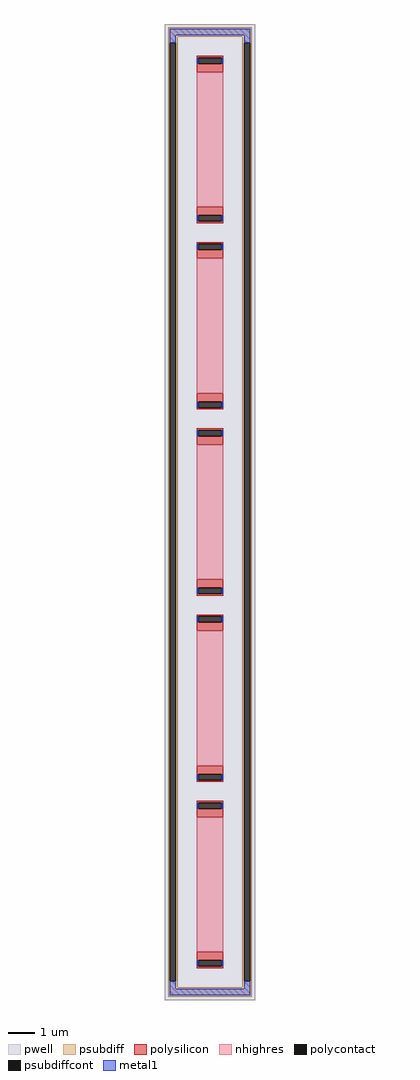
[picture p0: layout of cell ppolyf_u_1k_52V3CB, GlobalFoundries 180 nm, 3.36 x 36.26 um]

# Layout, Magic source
magic
tech gf180mcuD
magscale 1 10
<< pwell >>
rect -336 -3626 336 3626
<< psubdiff >>
rect -312 3530 312 3602
rect -312 3486 -240 3530
rect -312 -3486 -299 3486
rect -253 -3486 -240 3486
rect 240 3486 312 3530
rect -312 -3530 -240 -3486
rect 240 -3486 253 3486
rect 299 -3486 312 3486
rect 240 -3530 312 -3486
rect -312 -3602 312 -3530
<< psubdiffcont >>
rect -299 -3486 -253 3486
rect 253 -3486 299 3486
<< polysilicon >>
rect -100 3377 100 3390
rect -100 3331 -87 3377
rect 87 3331 100 3377
rect -100 3268 100 3331
rect -100 2205 100 2268
rect -100 2159 -87 2205
rect 87 2159 100 2205
rect -100 2146 100 2159
rect -100 1993 100 2006
rect -100 1947 -87 1993
rect 87 1947 100 1993
rect -100 1884 100 1947
rect -100 821 100 884
rect -100 775 -87 821
rect 87 775 100 821
rect -100 762 100 775
rect -100 609 100 622
rect -100 563 -87 609
rect 87 563 100 609
rect -100 500 100 563
rect -100 -563 100 -500
rect -100 -609 -87 -563
rect 87 -609 100 -563
rect -100 -622 100 -609
rect -100 -775 100 -762
rect -100 -821 -87 -775
rect 87 -821 100 -775
rect -100 -884 100 -821
rect -100 -1947 100 -1884
rect -100 -1993 -87 -1947
rect 87 -1993 100 -1947
rect -100 -2006 100 -1993
rect -100 -2159 100 -2146
rect -100 -2205 -87 -2159
rect 87 -2205 100 -2159
rect -100 -2268 100 -2205
rect -100 -3331 100 -3268
rect -100 -3377 -87 -3331
rect 87 -3377 100 -3331
rect -100 -3390 100 -3377
<< polycontact >>
rect -87 3331 87 3377
rect -87 2159 87 2205
rect -87 1947 87 1993
rect -87 775 87 821
rect -87 563 87 609
rect -87 -609 87 -563
rect -87 -821 87 -775
rect -87 -1993 87 -1947
rect -87 -2205 87 -2159
rect -87 -3377 87 -3331
<< nhighres >>
rect -100 2268 100 3268
rect -100 884 100 1884
rect -100 -500 100 500
rect -100 -1884 100 -884
rect -100 -3268 100 -2268
<< metal1 >>
rect -299 3543 299 3589
rect -299 3486 -253 3543
rect 253 3486 299 3543
rect -98 3331 -87 3377
rect 87 3331 98 3377
rect -98 2159 -87 2205
rect 87 2159 98 2205
rect -98 1947 -87 1993
rect 87 1947 98 1993
rect -98 775 -87 821
rect 87 775 98 821
rect -98 563 -87 609
rect 87 563 98 609
rect -98 -609 -87 -563
rect 87 -609 98 -563
rect -98 -821 -87 -775
rect 87 -821 98 -775
rect -98 -1993 -87 -1947
rect 87 -1993 98 -1947
rect -98 -2205 -87 -2159
rect 87 -2205 98 -2159
rect -98 -3377 -87 -3331
rect 87 -3377 98 -3331
rect -299 -3543 -253 -3486
rect 253 -3543 299 -3486
rect -299 -3589 299 -3543
<< properties >>
string FIXED_BBOX -276 -3566 276 3566
string gencell ppolyf_u_1k
string library gf180mcu
string parameters w 1.0 l 5.0 m 5 nx 1 wmin 1.000 lmin 1.000 class resistor rho 1000 val 5.0k dummy 0 dw 0.0 term 0.0 sterm 0.0 caplen 0.4 snake 0 glc 1 grc 1 gtc 0 gbc 0 roverlap 0 endcov 100 full_metal 1 compatible {ppolyf_u_1k ppolyf_u_1k_6p0}
<< end >>
